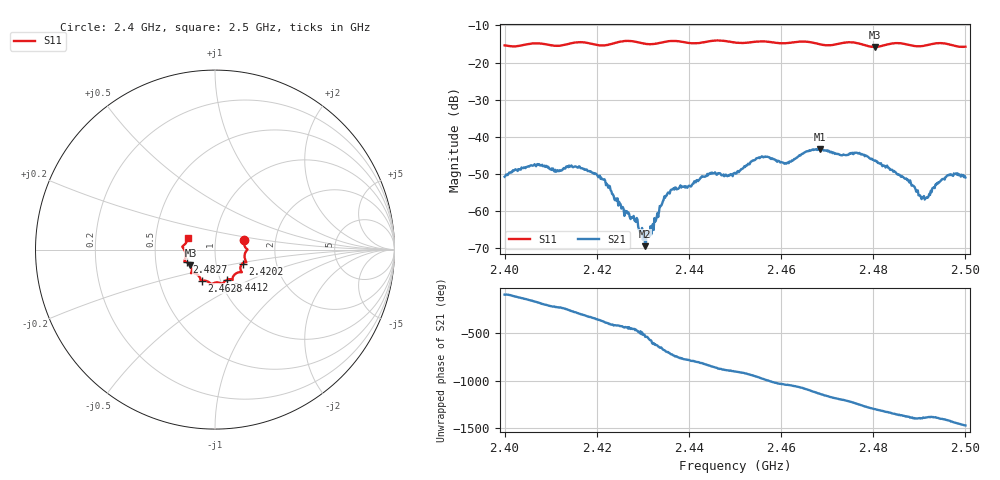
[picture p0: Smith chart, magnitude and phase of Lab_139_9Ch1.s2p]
# Hz S RI R 50
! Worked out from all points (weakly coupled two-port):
!   601 points, 2.4 GHz to 2.5 GHz, reference 50 ohm
!   highest |S21| = -43.26 dB at 2.4685 GHz (marker M1); lowest = -69.4 dB at 2.4305 GHz (marker M2)
!   lowest |S11| = -15.8 dB at 2.4803 GHz (marker M3), VSWR 1.39, Z = 37.5 - j6.77 ohm
!   |S11| at or under -10 dB: start of sweep to end of sweep
!   S12 and S22 are empty: the file has one direction only
!   S11 on the Smith chart (normalised r, x): 2.4 GHz: 1.38, +0.15; 2.4202 GHz: 1.34, -0.21; 2.4412 GHz: 1.08, -0.37; 2.4628 GHz: 0.82, -0.29; 2.4827 GHz: 0.72, -0.10; 2.5 GHz: 0.73, +0.10
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2.4e9  0.1614 0.0537  -0.000245 -0.0029  0 0  0 0
2.407e9  0.1817 -0.000223  -0.00425 -0.000428  0 0  0 0
2.411333e9  0.1654 -0.0282  -0.00236 0.00252  0 0  0 0
2.416667e9  0.1745 -0.0696  0.00197 0.00325  0 0  0 0
2.420167e9  0.1532 -0.0776  0.003 0.00028  0 0  0 0
2.428333e9  0.144 -0.1254  -0.000245 -0.000721  0 0  0 0
2.4305e9  0.1229 -0.1299  -0.000339 -1.81e-05  0 0  0 0
2.433333e9  0.0996 -0.1524  0.000146 0.000824  0 0  0 0
2.435833e9  0.0982 -0.1678  0.00171 0.000286  0 0  0 0
2.441167e9  0.0687 -0.1676  0.000641 -0.00246  0 0  0 0
2.444833e9  0.0444 -0.19  -0.002 -0.0025  0 0  0 0
2.45e9  0.0247 -0.1841  -0.00329 0.000143  0 0  0 0
2.455333e9  -0.0174 -0.1917  -0.00194 0.0048  0 0  0 0
2.462833e9  -0.0718 -0.1733  0.0046 0.00204  0 0  0 0
2.466667e9  -0.0805 -0.1682  0.00585 -0.00323  0 0  0 0
2.4685e9  -0.0857 -0.1532  0.00363 -0.00583  0 0  0 0
2.480333e9  -0.1365 -0.088  -0.00376 0.00294  0 0  0 0
2.482667e9  -0.1579 -0.0704  -0.00157 0.00355  0 0  0 0
2.483333e9  -0.1632 -0.0683  -0.00107 0.00371  0 0  0 0
2.491e9  -0.1678 -0.0082  0.00104 0.00122  0 0  0 0
2.496333e9  -0.1753 0.0229  0.0028 0.00121  0 0  0 0
2.5e9  -0.1505 0.0641  0.00247 -0.0014  0 0  0 0
